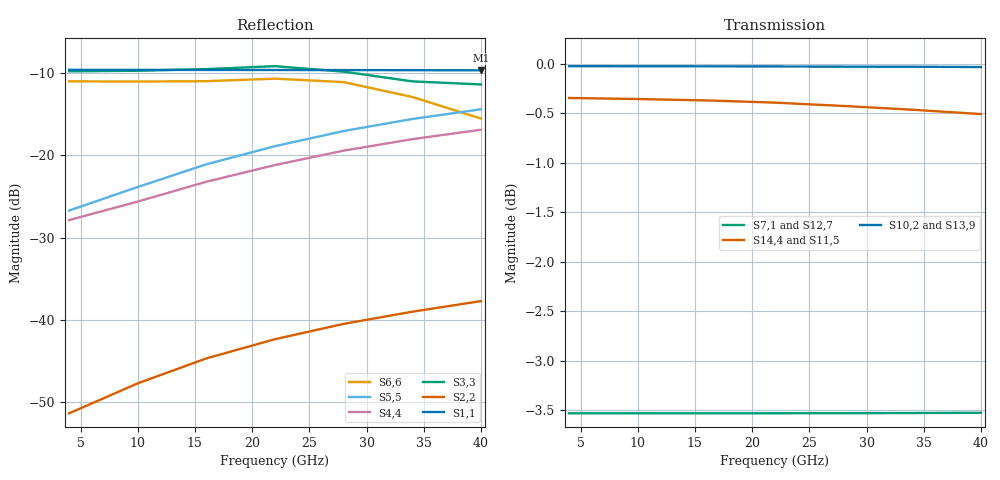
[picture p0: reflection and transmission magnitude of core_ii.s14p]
! Generated by circuitRF - EM: Full-wave planar
! circuitRF-EM setup: core_ii
! circuitRF-EM layout: CORE/layout/CORE.clay
! circuitRF-EM written: 2026-11-14 19:38:15Z
! circuitRF-EM stamp: 20261114T193815Z-b47cfb5a
! circuitRF-EM geometry: 09192e98a5423f9b
! circuitRF-EM mesh: 099879cdb6ab51d1
! circuitRF-EM ports: fb9c88bbfe30ba4b
! circuitRF-EM model: grounded-edge-port-2026-10-14
! Port[1] = 1
! Port[2] = 2
! Port[3] = 3
! Port[4] = Q1.C
! Port[5] = Q1.B
! Port[6] = Q1.E
! Port[7] = C1.PLUS
! Port[8] = C1.MINUS
! Port[9] = C2.PLUS
! Port[10] = C2.MINUS
! Port[11] = L1.LB
! Port[12] = L1.LA
! Port[13] = L2.LB
! Port[14] = L2.LA
! circuitRF-EM port 1: '1' on 'TopMetal1' at (-4.75, -60 um), edge, uncalibrated (not de-embedded), 50 Ohm
! circuitRF-EM port 2: '2' on 'TopMetal1' at (205, -35 um), edge, uncalibrated (not de-embedded), 50 Ohm
! circuitRF-EM port 3: '3' on 'TopMetal1' at (-100, 37.5 um), edge, uncalibrated (not de-embedded), 50 Ohm
! circuitRF-EM port 4: 'Q1.C' on 'Metal1' at (84, -33.75 um), edge, uncalibrated (not de-embedded), 50 Ohm
! circuitRF-EM port 5: 'Q1.B' on 'Metal1' at (84, -36.26 um), edge, uncalibrated (not de-embedded), 50 Ohm
! circuitRF-EM port 6: 'Q1.E' on 'Metal2' at (84.925, -35 um), edge, uncalibrated (not de-embedded), 50 Ohm
! circuitRF-EM port 7: 'C1.PLUS' on 'TopMetal1' at (-22.67, -40 um), edge, uncalibrated (not de-embedded), 50 Ohm
! circuitRF-EM port 8: 'C1.MINUS' on 'Metal5' at (-31.05, -40 um), edge, uncalibrated (not de-embedded), 50 Ohm
! circuitRF-EM port 9: 'C2.PLUS' on 'TopMetal1' at (165.55, -35 um), edge, uncalibrated (not de-embedded), 50 Ohm
! circuitRF-EM port 10: 'C2.MINUS' on 'Metal5' at (185.6, -35 um), edge, uncalibrated (not de-embedded), 50 Ohm
! circuitRF-EM port 11: 'L1.LB' on 'TopMetal1' at (4.75, -1 um), edge, uncalibrated (not de-embedded), 50 Ohm
! circuitRF-EM port 12: 'L1.LA' on 'TopMetal1' at (-4.75, -1 um), edge, uncalibrated (not de-embedded), 50 Ohm
! circuitRF-EM port 13: 'L2.LB' on 'TopMetal1' at (155.55, -1 um), edge, uncalibrated (not de-embedded), 50 Ohm
! circuitRF-EM port 14: 'L2.LA' on 'TopMetal1' at (149.45, -1 um), edge, uncalibrated (not de-embedded), 50 Ohm
! circuitRF-EM: port N of this file is the label named on the 'port N' line above. A circuit that composes this result binds its nets in that order; two ports of a reciprocal part swapped gives a plausible curve of a different structure.
! circuitRF-EM caveat: 2 of these rows are NOT A PASSIVE NETWORK and should not be used: 34 GHz to 40 GHz, worst sigma_max(S) = 1.1284. A passive structure cannot exceed 1, so the excess is this analysis rather than the design. The de-embedding reports no error floor on this sweep, so it is not the 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
! circuitRF-EM: re-running the EM setup rewrites this file. If circuitRF reports it as stale, the layout's cross-section changed after this file was written.
# GHz S RI R 50
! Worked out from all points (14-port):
!   7 points, 4 GHz to 40 GHz, reference 50 ohm
!   strongest paths, dB at 4 GHz, 10 GHz, 22 GHz, 34 GHz, 40 GHz:
!     S10,2: 0.0, 0.0, 0.0, 0.0, 0.0
!     S13,9: 0.0, 0.0, 0.0, 0.0, -0.1
!     S14,4: -0.3, -0.4, -0.4, -0.5, -0.5
!     S11,5: -0.4, -0.4, -0.5, -0.6, -0.7
!     S7,1: -3.5, -3.5, -3.5, -3.5, -3.5
!     S12,7: -3.5, -3.5, -3.6, -3.6, -3.6
!   lowest |S11| = -9.6 dB at 40 GHz (marker M1), VSWR 1.98, Z = 25.5 + j4.36 ohm
!   |S11| at or under -10 dB: nowhere
